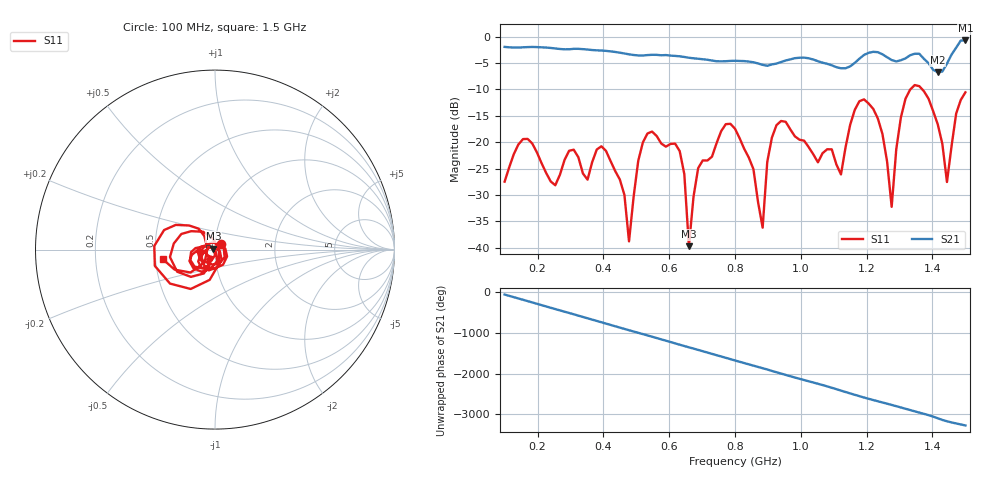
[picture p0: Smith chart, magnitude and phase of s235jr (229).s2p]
! NanoVNA-App
! Date: 2025-09-25 15:05:56
! Start: 100MHz Stop: 1,5GHz Points: 101
! S-Parameter data: F S11 S21 S12 S22
# Hz S RI R 50
!  Frequency  S11_Real  S11_Imag  S21_Real  S21_Imag  S12_Real  S12_Imag  S22_Real  S22_Imag
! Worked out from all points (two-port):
!   101 points, 100 MHz to 1.5 GHz, reference 50 ohm
!   highest |S21| = -0.74 dB at 1.5 GHz (marker M1); lowest = -6.7 dB at 1.416 GHz (marker M2)
!   |S21| within 3 dB of the highest: start of sweep to 632 MHz; 1.187 GHz to 1.258 GHz (70.73 MHz wide, 5.79 % of centre) (the widest 2 of 4)
!   lowest |S11| = -39.7 dB at 660 MHz (marker M3), VSWR 1.02, Z = 49.2 + j0.597 ohm
!   |S11| at or under -10 dB: start of sweep to 1.333 GHz; 1.369 GHz to end of sweep
!   S12 and S22 are empty: the file has one direction only
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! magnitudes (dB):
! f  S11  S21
! 100 MHz  -27.5  -2.0
! 156 MHz  -19.4  -2.0
! 338 MHz  -25.9  -2.4
! 408 MHz  -21.6  -2.7
! 478 MHz  -38.8  -3.4
! 520 MHz  -20.1  -3.6
! 576 MHz  -20.3  -3.5
! 632 MHz  -21.7  -3.7
! 660 MHz  -39.7  -4.0
! 688 MHz  -24.9  -4.2
! 800 MHz  -17.4  -4.6
! 884 MHz  -36.2  -5.4
! 926 MHz  -16.8  -5.1
! 1.038 GHz  -22.3  -4.4
! 1.122 GHz  -26.1  -6.0
! 1.192 GHz  -11.9  -3.5
! 1.248 GHz  -18.5  -3.4
! 1.276 GHz  -32.2  -4.5
! 1.332 GHz  -10.1  -3.5
! 1.416 GHz  -16.6  -6.7
! 1.444 GHz  -27.5  -5.1
! 1.5 GHz  -10.6  -0.7
